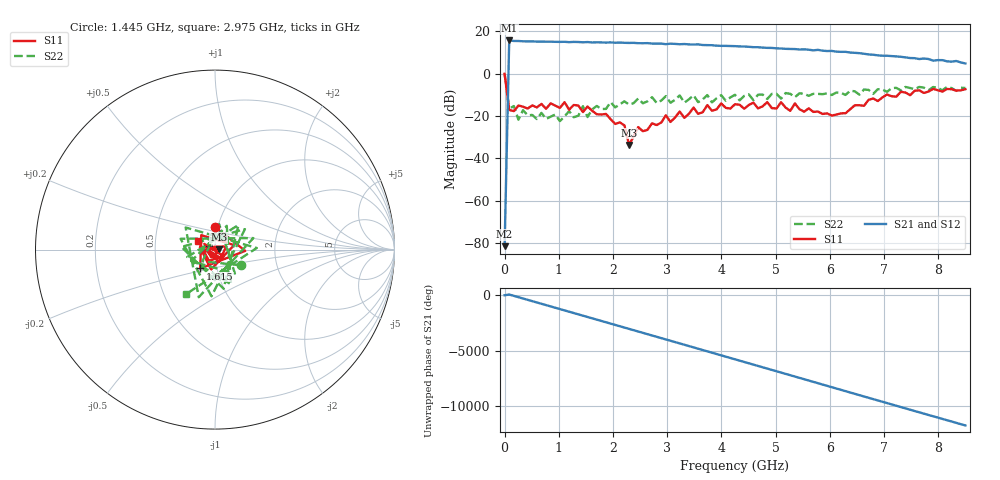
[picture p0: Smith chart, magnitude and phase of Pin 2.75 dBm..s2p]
! RsaToolbox (C) 2013 Rohde & Schwarz America
! Number of points: 101
! Number of ports: 2
! Balanced ports?: 0
# Hz S RI R 50
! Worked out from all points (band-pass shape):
!   101 points, 9 kHz to 8.5 GHz, reference 50 ohm
!   highest |S21| = 15.72 dB at 85.01 MHz (marker M1); lowest = -81.4 dB at 9 kHz (marker M2)
!   |S21| within 3 dB of the highest: 82.38 MHz to 4.506 GHz (4.424 GHz wide, 193 % of centre)
!   lowest |S11| = -33.6 dB at 2.295 GHz (marker M3), VSWR 1.04, Z = 52.1 + j0.237 ohm
!   |S11| at or under -10 dB: 49.62 MHz to 7.043 GHz (6.993 GHz wide, 197 % of centre); 7.076 GHz to 7.255 GHz (179.1 MHz wide, 2.5 % of centre); 7.471802 GHz to 7.484958 GHz (13.16 MHz wide, 0.176 % of centre)
!   |S22| runs from -22.4 to 0.1 dB; largest |S21 - S12| = 0
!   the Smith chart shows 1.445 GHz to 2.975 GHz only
!   S11 on the Smith chart (normalised r, x): 1.445 GHz: 0.97, +0.25; 1.615 GHz: 0.83, -0.18; 2.975 GHz: 0.83, +0.08
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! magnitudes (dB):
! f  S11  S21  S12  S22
! 9 kHz  0.0  -81.4  -81.4  0.1
! 85.01 MHz  -17.1  15.7  15.7  -16.6
! 170 MHz  -17.6  15.5  15.5  -15.2
! 255 MHz  -15.0  15.5  15.5  -21.7
! 340 MHz  -15.6  15.3  15.3  -17.2
! 1.02 GHz  -16.1  15.0  15.0  -22.4
! 1.445 GHz  -18.1  14.8  14.8  -15.3
! 1.53 GHz  -15.5  15.0  15.0  -20.4
! 1.615 GHz  -17.5  14.8  14.8  -16.8
! 2.21 GHz  -24.4  14.6  14.6  -13.0
! 2.295 GHz  -33.6  14.6  14.6  -14.5
! 2.465 GHz  -25.2  14.4  14.4  -11.7
! 2.89 GHz  -23.0  14.2  14.2  -12.7
! 2.975 GHz  -19.6  14.0  14.0  -10.5
! 3.06 GHz  -22.8  14.2  14.2  -13.7
! 3.485 GHz  -16.0  13.8  13.8  -10.2
! 3.825 GHz  -17.5  13.5  13.5  -13.5
! 4.25 GHz  -14.4  13.0  13.0  -9.9
! 5.695 GHz  -18.0  11.1  11.1  -9.5
! 6.29 GHz  -18.6  10.4  10.4  -10.0
! 7.14 GHz  -10.6  8.3  8.3  -6.8
! 8.5 GHz  -7.3  4.9  4.9  -6.7
